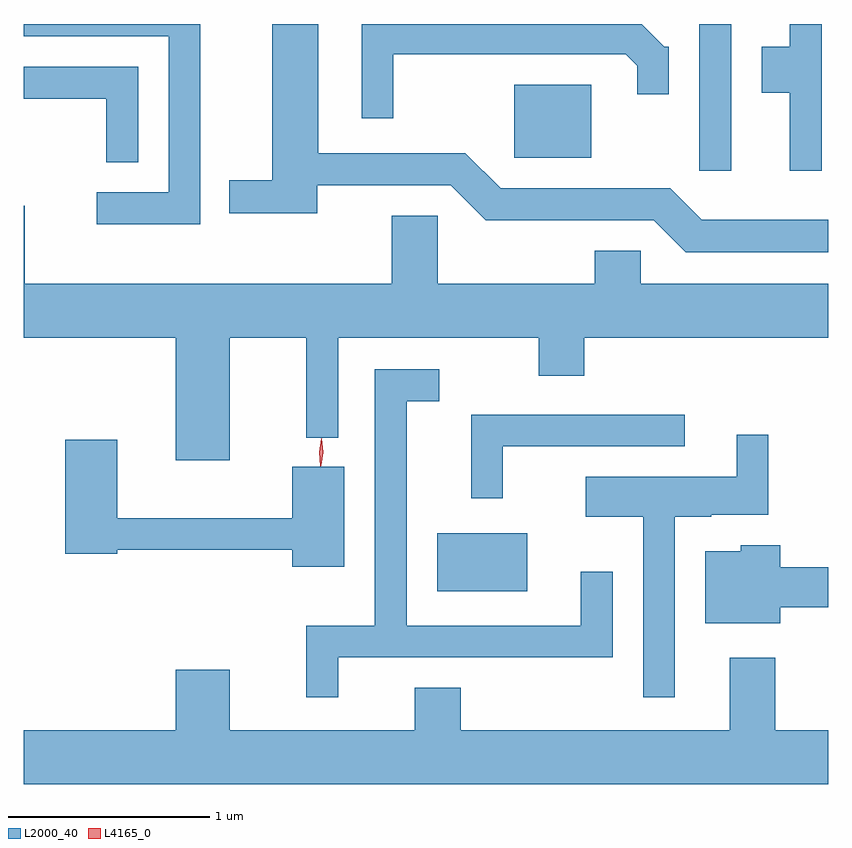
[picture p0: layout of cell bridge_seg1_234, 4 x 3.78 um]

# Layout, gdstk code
import gdstk
lib = gdstk.Library(unit=1e-6, precision=1e-09)
def R(c, l, rs):  # rectangles x0, y0, x1, y1
    for r in rs: c.add(gdstk.rectangle(r[:2], r[2:], *l))
def P(c, l, *ps):  # polygons
    for p in ps: c.add(gdstk.Polygon(p, *l))
L2000_40 = (2000, 40)
L4165_0 = (4165, 0)

bridge_seg1_234 = lib.new_cell('bridge_seg1_234')
R(bridge_seg1_234, L2000_40, [(815.776,873.896,816.224,874.184), (817.081,875.988,817.239,876.717), (816.161,876.051,816.544,876.414)])
P(bridge_seg1_234, L2000_40, [(817.721,875.744),(817.092,875.744),(816.937,875.899),(816.092,875.899),(815.917,876.074),(815.184,876.074),(815.184,876.717),(814.956,876.717),(814.956,875.939),(814.743,875.939),(814.743,875.776),(815.179,875.776),(815.179,875.916),(815.844,875.916),(816.019,875.741),(816.854,875.741),(817.014,875.581),(817.721,875.581)],
  [(815.559,876.566),(816.714,876.566),(816.771,876.509),(816.771,876.368),(816.929,876.368),(816.929,876.604),(816.907,876.604),(816.794,876.717),(815.401,876.717),(815.401,876.248),(815.559,876.248)],
  [(817.689,876.717),(817.531,876.717),(817.531,876.604),(817.391,876.604),(817.391,876.376),(817.531,876.376),(817.531,875.988),(817.689,875.988)],
  [(814.599,876.717),(813.721,876.717),(813.721,876.656),(814.441,876.656),(814.441,875.879),(814.083,875.879),(814.083,875.721),(814.599,875.721)],
  [(814.289,876.504),(813.721,876.504),(813.721,876.346),(814.131,876.346),(814.131,876.028),(814.289,876.028)],
  [(814.744,875.156),(815.126,875.156),(815.126,874.658),(815.284,874.658),(815.284,875.156),(816.281,875.156),(816.281,874.966),(816.509,874.966),(816.509,875.156),(817.721,875.156),(817.721,875.424),(816.789,875.424),(816.789,875.589),(816.561,875.589),(816.561,875.424),(815.779,875.424),(815.779,875.764),(815.551,875.764),(815.551,875.424),(813.724,875.424),(813.724,875.813),(813.721,875.813),(813.721,875.156),(814.476,875.156),(814.476,874.546),(814.744,874.546)],
  [(815.284,873.566),(816.649,873.566),(816.649,873.993),(816.491,873.993),(816.491,873.724),(815.624,873.724),(815.624,874.841),(815.788,874.841),(815.788,874.999),(815.466,874.999),(815.466,873.724),(815.126,873.724),(815.126,873.368),(815.284,873.368)],
  [(816.104,874.616),(817.008,874.616),(817.008,874.774),(815.946,874.774),(815.946,874.358),(816.104,874.358)],
  [(816.959,874.266),(817.14,874.266),(817.14,874.276),(817.424,874.276),(817.424,874.673),(817.266,874.673),(817.266,874.464),(816.516,874.464),(816.516,874.266),(816.801,874.266),(816.801,873.368),(816.959,873.368)],
  [(815.314,874.514),(815.056,874.514),(815.056,874.259),(814.184,874.259),(814.184,874.649),(813.926,874.649),(813.926,874.081),(814.184,874.081),(814.184,874.101),(815.056,874.101),(815.056,874.016),(815.314,874.016)],
  [(817.484,873.816),(817.721,873.816),(817.721,874.014),(817.484,874.014),(817.484,874.124),(817.286,874.124),(817.286,874.094),(817.111,874.094),(817.111,873.736),(817.484,873.736)],
  [(817.721,873.204),(817.459,873.204),(817.459,873.564),(817.231,873.564),(817.231,873.204),(815.894,873.204),(815.894,873.414),(815.666,873.414),(815.666,873.204),(814.744,873.204),(814.744,873.504),(814.476,873.504),(814.476,873.204),(813.721,873.204),(813.721,872.936),(817.721,872.936)])
P(bridge_seg1_234, L4165_0, [(815.196,874.518),(815.19,874.587),(815.201,874.654),(815.202,874.655),(815.202,874.654),(815.209,874.586),(815.197,874.518),(815.197,874.518)],
  [(815.2,874.52),(815.199,874.521),(815.191,874.586),(815.201,874.651),(815.202,874.652),(815.202,874.651),(815.211,874.586),(815.2,874.521)])

lib.write_gds('bridge_seg1_234.gds')
